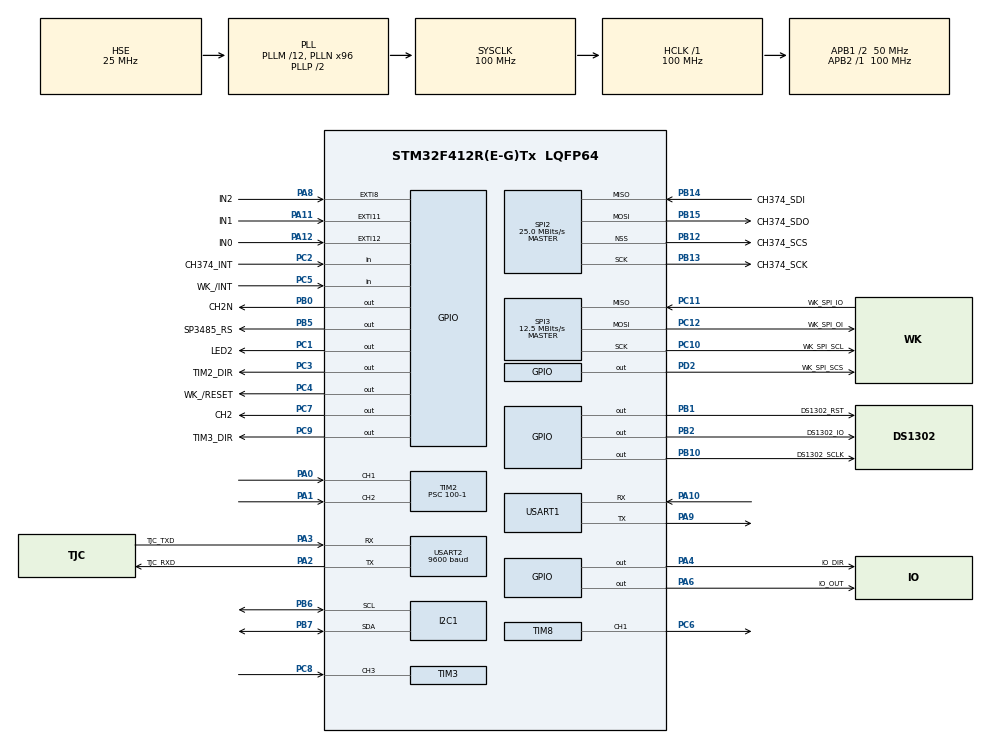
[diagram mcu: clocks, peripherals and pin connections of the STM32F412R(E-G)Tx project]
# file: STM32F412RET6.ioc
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Dma.Request0=USART2_RX
Dma.Request1=USART2_TX
Dma.Request2=USART1_RX
Dma.Request3=USART1_TX
Dma.USART1_RX.2.Direction=DMA_PERIPH_TO_MEMORY
Dma.USART1_RX.2.FIFOMode=DMA_FIFOMODE_DISABLE
Dma.USART1_RX.2.Instance=DMA2_Stream2
Dma.USART1_RX.2.MemDataAlignment=DMA_MDATAALIGN_BYTE
Dma.USART1_RX.2.MemInc=DMA_MINC_ENABLE
Dma.USART1_RX.2.Mode=DMA_NORMAL
Dma.USART1_RX.2.PeriphDataAlignment=DMA_PDATAALIGN_BYTE
Dma.USART1_RX.2.PeriphInc=DMA_PINC_DISABLE
Dma.USART1_RX.2.Priority=DMA_PRIORITY_LOW
Dma.USART1_TX.3.Direction=DMA_MEMORY_TO_PERIPH
Dma.USART1_TX.3.FIFOMode=DMA_FIFOMODE_DISABLE
Dma.USART1_TX.3.Instance=DMA2_Stream7
Dma.USART1_TX.3.MemDataAlignment=DMA_MDATAALIGN_BYTE
Dma.USART1_TX.3.MemInc=DMA_MINC_ENABLE
Dma.USART1_TX.3.Mode=DMA_NORMAL
Dma.USART1_TX.3.PeriphDataAlignment=DMA_PDATAALIGN_BYTE
Dma.USART1_TX.3.PeriphInc=DMA_PINC_DISABLE
Dma.USART1_TX.3.Priority=DMA_PRIORITY_LOW
Dma.USART2_RX.0.Direction=DMA_PERIPH_TO_MEMORY
Dma.USART2_RX.0.FIFOMode=DMA_FIFOMODE_DISABLE
Dma.USART2_RX.0.Instance=DMA1_Stream5
Dma.USART2_RX.0.MemDataAlignment=DMA_MDATAALIGN_BYTE
Dma.USART2_RX.0.MemInc=DMA_MINC_ENABLE
Dma.USART2_RX.0.Mode=DMA_NORMAL
Dma.USART2_RX.0.PeriphDataAlignment=DMA_PDATAALIGN_BYTE
Dma.USART2_RX.0.PeriphInc=DMA_PINC_DISABLE
Dma.USART2_RX.0.Priority=DMA_PRIORITY_LOW
Dma.USART2_TX.1.Direction=DMA_MEMORY_TO_PERIPH
Dma.USART2_TX.1.FIFOMode=DMA_FIFOMODE_DISABLE
Dma.USART2_TX.1.Instance=DMA1_Stream6
Dma.USART2_TX.1.MemDataAlignment=DMA_MDATAALIGN_BYTE
Dma.USART2_TX.1.MemInc=DMA_MINC_ENABLE
Dma.USART2_TX.1.Mode=DMA_NORMAL
Dma.USART2_TX.1.PeriphDataAlignment=DMA_PDATAALIGN_BYTE
Dma.USART2_TX.1.PeriphInc=DMA_PINC_DISABLE
Dma.USART2_TX.1.Priority=DMA_PRIORITY_LOW
FREERTOS.Queues01=myQueue01,5,uint8_t,0,Dynamic,NULL,NULL
FREERTOS.Tasks01=defaultTask,24,128,StartDefaultTask,Default,NULL,Dynamic,NULL,NULL;myTask01,8,128,StartTask01,Default,NULL,Dynamic,NULL,NULL
FREERTOS.configMAX_TASK_NAME_LEN=32
I2C1.I2C_Mode=I2C_Fast
Mcu.Family=STM32F4
Mcu.Name=STM32F412R(E-G)Tx
Mcu.Package=LQFP64
NVIC.DMA1_Stream5_IRQn=true\:5\:0\:false\:false\:true\:true\:false\:true\:true
NVIC.DMA1_Stream6_IRQn=true\:5\:0\:false\:false\:true\:true\:false\:true\:true
NVIC.DMA2_Stream2_IRQn=true\:5\:0\:false\:false\:true\:true\:false\:true\:true
NVIC.DMA2_Stream7_IRQn=true\:5\:0\:false\:false\:true\:true\:false\:true\:true
NVIC.EXTI15_10_IRQn=true\:5\:0\:false\:false\:true\:true\:true\:true\:true
NVIC.EXTI9_5_IRQn=true\:5\:0\:false\:false\:true\:true\:true\:true\:true
NVIC.I2C1_ER_IRQn=true\:5\:0\:false\:false\:true\:true\:true\:true\:true
NVIC.I2C1_EV_IRQn=true\:5\:0\:false\:false\:true\:true\:true\:true\:true
NVIC.PriorityGroup=NVIC_PRIORITYGROUP_4
NVIC.SPI3_IRQn=true\:5\:0\:false\:false\:true\:true\:true\:true\:true
NVIC.TIM1_UP_TIM10_IRQn=true\:15\:0\:false\:false\:true\:false\:false\:true\:true
NVIC.TIM2_IRQn=true\:5\:0\:true\:false\:true\:true\:true\:true\:true
NVIC.TIM3_IRQn=true\:6\:0\:true\:false\:true\:true\:true\:true\:true
NVIC.TIM8_BRK_TIM12_IRQn=true\:5\:0\:false\:false\:true\:true\:true\:true\:true
NVIC.TIM8_CC_IRQn=true\:5\:0\:false\:false\:true\:true\:true\:true\:true
NVIC.TIM8_TRG_COM_TIM14_IRQn=true\:5\:0\:false\:false\:true\:true\:true\:true\:true
NVIC.TIM8_UP_TIM13_IRQn=true\:5\:0\:false\:false\:true\:true\:true\:true\:true
NVIC.TimeBase=TIM1_UP_TIM10_IRQn
NVIC.TimeBaseIP=TIM1
NVIC.USART1_IRQn=true\:5\:0\:false\:false\:true\:true\:true\:true\:true
NVIC.USART2_IRQn=true\:5\:0\:false\:false\:true\:true\:true\:true\:true
PA0.GPIO_PuPd=GPIO_PULLUP
PA0.Signal=S_TIM2_CH1_ETR
PA1.GPIO_PuPd=GPIO_PULLUP
PA1.Signal=S_TIM2_CH2
PA10.Mode=Asynchronous
PA10.Signal=USART1_RX
PA11.GPIO_Label=IN1
PA11.Signal=GPXTI11
PA12.GPIO_Label=IN0
PA12.Signal=GPXTI12
PA13.GPIO_Label=TMS
PA13.Mode=JTAG_5_pins
PA13.Signal=SYS_JTMS-SWDIO
PA14.GPIO_Label=TCK
PA14.Mode=JTAG_5_pins
PA14.Signal=SYS_JTCK-SWCLK
PA15.GPIO_Label=TDI
PA15.Mode=JTAG_5_pins
PA15.Signal=SYS_JTDI
PA2.GPIO_Label=TJC_RXD
PA2.Mode=Asynchronous
PA2.Signal=USART2_TX
PA3.GPIO_Label=TJC_TXD
PA3.Mode=Asynchronous
PA3.Signal=USART2_RX
PA4.GPIO_Label=IO_DIR
PA4.Signal=GPIO_Output
PA6.GPIO_Label=IO_OUT
PA6.GPIO_ModeDefaultOutputPP=GPIO_MODE_OUTPUT_PP
PA6.GPIO_PuPd=GPIO_PULLDOWN
PA6.Signal=GPIO_Output
PA8.GPIO_Label=IN2
PA8.GPIO_ModeDefaultEXTI=GPIO_MODE_IT_RISING
PA8.Signal=GPXTI8
PA9.Mode=Asynchronous
PA9.Signal=USART1_TX
PB0.GPIO_Label=CH2N
PB0.GPIO_PuPd=GPIO_PULLUP
PB0.Signal=GPIO_Output
PB1.GPIO_Label=DS1302_RST
PB1.Signal=GPIO_Output
PB10.GPIO_Label=DS1302_SCLK
PB10.GPIO_PuPd=GPIO_PULLUP
PB10.Signal=GPIO_Output
PB12.GPIO_Label=CH374_SCS
PB12.Mode=NSS_Signal_Hard_Output
PB12.Signal=SPI2_NSS
PB13.GPIO_Label=CH374_SCK
PB13.Mode=Full_Duplex_Master
PB13.Signal=SPI2_SCK
PB14.GPIO_Label=CH374_SDI
PB14.Mode=Full_Duplex_Master
PB14.Signal=SPI2_MISO
PB15.GPIO_Label=CH374_SDO
PB15.Mode=Full_Duplex_Master
PB15.Signal=SPI2_MOSI
PB2.GPIO_Label=DS1302_IO
PB2.Signal=GPIO_Output
PB3.GPIO_Label=TDO
PB3.Mode=JTAG_5_pins
PB3.Signal=SYS_JTDO-SWO
PB4.GPIO_Label=NTRST
PB4.Mode=JTAG_5_pins
PB4.Signal=SYS_JTRST
PB5.GPIO_Label=SP3485_RS
PB5.Signal=GPIO_Output
PB6.Mode=I2C
PB6.Signal=I2C1_SCL
PB7.Mode=I2C
PB7.Signal=I2C1_SDA
PC1.GPIO_Label=LED2
PC1.GPIO_PuPd=GPIO_PULLUP
PC1.Signal=GPIO_Output
PC10.GPIO_Label=WK_SPI_SCL
PC10.Mode=Full_Duplex_Master
PC10.Signal=SPI3_SCK
PC11.GPIO_Label=WK_SPI_IO
PC11.Mode=Full_Duplex_Master
PC11.Signal=SPI3_MISO
PC12.GPIO_Label=WK_SPI_OI
PC12.Mode=Full_Duplex_Master
PC12.Signal=SPI3_MOSI
PC2.GPIO_Label=CH374_INT
PC2.Signal=GPIO_Input
PC3.GPIO_Label=TIM2_DIR
PC3.Signal=GPIO_Output
PC4.GPIO_Label=WK_/RESET
PC4.Signal=GPIO_Output
PC5.GPIO_Label=WK_/INT
PC5.Signal=GPIO_Input
PC6.GPIO_Speed=GPIO_SPEED_FREQ_HIGH
PC6.Signal=S_TIM8_CH1
PC7.GPIO_Label=CH2
PC7.GPIO_PuPd=GPIO_PULLDOWN
PC7.Signal=GPIO_Output
PC8.Signal=S_TIM3_CH3
PC9.GPIO_Label=TIM3_DIR
PC9.Signal=GPIO_Output
PD2.GPIO_Label=WK_SPI_SCS
PD2.GPIO_PuPd=GPIO_PULLUP
PD2.Signal=GPIO_Output
PH0\ -\ OSC_IN.Mode=HSE-External-Oscillator
PH0\ -\ OSC_IN.Signal=RCC_OSC_IN
PH1\ -\ OSC_OUT.Mode=HSE-External-Oscillator
PH1\ -\ OSC_OUT.Signal=RCC_OSC_OUT
ProjectManager.HeapSize=0x200
ProjectManager.StackSize=0x400
ProjectManager.TargetToolchain=MDK-ARM V5.32
RCC.AHBFreq_Value=100000000
RCC.APB1CLKDivider=RCC_HCLK_DIV2
RCC.APB1Freq_Value=50000000
RCC.APB1TimFreq_Value=100000000
RCC.APB2Freq_Value=100000000
RCC.APB2TimFreq_Value=100000000
RCC.CortexFreq_Value=100000000
RCC.HCLKFreq_Value=100000000
RCC.PLLM=12
RCC.PLLN=96
RCC.PLLSourceVirtual=RCC_PLLSOURCE_HSE
RCC.SYSCLKFreq_VALUE=100000000
RCC.SYSCLKSource=RCC_SYSCLKSOURCE_PLLCLK
RCC.USBFreq_Value=100000000
RCC.VCOOutputFreq_Value=200000000
SH.S_TIM2_CH1_ETR.0=TIM2_CH1,Encoder_Interface
SH.S_TIM2_CH2.0=TIM2_CH2,Encoder_Interface
SH.S_TIM3_CH3.0=TIM3_CH3,Input_Capture3_from_TI3
SH.S_TIM8_CH1.0=TIM8_CH1,PWM Generation1 CH1
SPI2.CalculateBaudRate=25.0 MBits/s
SPI2.Direction=SPI_DIRECTION_2LINES
SPI2.Mode=SPI_MODE_MASTER
SPI2.VirtualNSS=VM_NSSHARD
SPI2.VirtualType=VM_MASTER
SPI3.BaudRatePrescaler=SPI_BAUDRATEPRESCALER_4
SPI3.CLKPhase=SPI_PHASE_2EDGE
SPI3.CLKPolarity=SPI_POLARITY_HIGH
SPI3.CalculateBaudRate=12.5 MBits/s
SPI3.Direction=SPI_DIRECTION_2LINES
SPI3.Mode=SPI_MODE_MASTER
SPI3.VirtualType=VM_MASTER
TIM13.Period=10-1
TIM13.Prescaler=10-1
TIM2.EncoderMode=TIM_ENCODERMODE_TI12
TIM2.IC1Filter=6
TIM2.IC2Filter=6
TIM2.Period=20000-1
TIM2.Prescaler=100-1
TIM3.AutoReloadPreload=TIM_AUTORELOAD_PRELOAD_ENABLE
TIM3.Channel-Input_Capture3_from_TI3=TIM_CHANNEL_3
TIM3.Period=20000-1
TIM3.Prescaler=1000-1
TIM8.AutoReloadPreload=TIM_AUTORELOAD_PRELOAD_DISABLE
TIM8.Channel-PWM\ Generation1\ CH1=TIM_CHANNEL_1
TIM8.Period=50-1
TIM8.Prescaler=100-1
TIM8.Pulse-PWM\ Generation1\ CH1=25
USART1.VirtualMode=VM_ASYNC
USART2.BaudRate=9600
USART2.VirtualMode=VM_ASYNC
VP_FREERTOS_VS_CMSIS_V2.Mode=CMSIS_V2
VP_SYS_VS_tim1.Mode=TIM1
VP_TIM13_VS_ClockSourceINT.Mode=Enable_Timer
VP_TIM3_VS_ClockSourceINT.Mode=Internal
board=custom

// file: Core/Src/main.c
/* USER CODE BEGIN Header */
/**
  ******************************************************************************
  * @file           : main.c
  * @brief          : Main program body
  ******************************************************************************
  * @attention
  *
  * Copyright (c) 2024 STMicroelectronics.
  * All rights reserved.
  *
  * This software is licensed under terms that can be found in the LICENSE file
  * in the root directory of this software component.
  * If no LICENSE file comes with this software, it is provided AS-IS.
  *
  ******************************************************************************
  */
/* USER CODE END Header */
#include "main.h"
#include "cmsis_os.h"
#include "dma.h"
#include "i2c.h"
#include "spi.h"
#include "tim.h"
#include "usart.h"
#include "gpio.h"

/* USER CODE BEGIN Includes */
float speed_Record[SPEED_RECORD_NUM]={0};
/* USER CODE END Includes */

/* USER CODE BEGIN PTD */
float Speed_Low_Filter(float new_Spe,float *speed_Record);
/* USER CODE END PTD */

void SystemClock_Config(void);
void MX_FREERTOS_Init(void);

int main(void)
{

  /* MCU Configuration--------------------------------------------------------*/

  /* Reset of all peripherals, Initializes the Flash interface and the Systick. */
  HAL_Init();

  /* Configure the system clock */
  SystemClock_Config();

  /* Initialize all configured peripherals */
  MX_GPIO_Init();
  MX_DMA_Init();
  MX_TIM2_Init();
  MX_USART2_UART_Init();
  MX_USART1_UART_Init();
  MX_I2C1_Init();
  MX_SPI2_Init();
  MX_SPI3_Init();
  MX_TIM3_Init();
  MX_TIM8_Init();
  MX_TIM13_Init();

  /* Init scheduler */
  osKernelInitialize();  /* Call init function for freertos objects (in freertos.c) */
  MX_FREERTOS_Init();

  /* Start scheduler */
  osKernelStart();

  /* We should never get here as control is now taken by the scheduler */
  /* Infinite loop */
  while (1)
  {

  }
}

void SystemClock_Config(void)
{
  RCC_OscInitTypeDef RCC_OscInitStruct = {0};
  RCC_ClkInitTypeDef RCC_ClkInitStruct = {0};

  /** Configure the main internal regulator output voltage
  */
  __HAL_RCC_PWR_CLK_ENABLE();
  __HAL_PWR_VOLTAGESCALING_CONFIG(PWR_REGULATOR_VOLTAGE_SCALE1);

  /** Initializes the RCC Oscillators according to the specified parameters
  * in the RCC_OscInitTypeDef structure.
  */
  RCC_OscInitStruct.OscillatorType = RCC_OSCILLATORTYPE_HSE;
  RCC_OscInitStruct.HSEState = RCC_HSE_ON;
  RCC_OscInitStruct.PLL.PLLState = RCC_PLL_ON;
  RCC_OscInitStruct.PLL.PLLSource = RCC_PLLSOURCE_HSE;
  RCC_OscInitStruct.PLL.PLLM = 12;
  RCC_OscInitStruct.PLL.PLLN = 96;
  RCC_OscInitStruct.PLL.PLLP = RCC_PLLP_DIV2;
  RCC_OscInitStruct.PLL.PLLQ = 2;
  RCC_OscInitStruct.PLL.PLLR = 2;
  if (HAL_RCC_OscConfig(&RCC_OscInitStruct) != HAL_OK)
  {
    Error_Handler();
  }

  /** Initializes the CPU, AHB and APB buses clocks
  */
  RCC_ClkInitStruct.ClockType = RCC_CLOCKTYPE_HCLK|RCC_CLOCKTYPE_SYSCLK
                              |RCC_CLOCKTYPE_PCLK1|RCC_CLOCKTYPE_PCLK2;
  RCC_ClkInitStruct.SYSCLKSource = RCC_SYSCLKSOURCE_PLLCLK;
  RCC_ClkInitStruct.AHBCLKDivider = RCC_SYSCLK_DIV1;
  RCC_ClkInitStruct.APB1CLKDivider = RCC_HCLK_DIV2;
  RCC_ClkInitStruct.APB2CLKDivider = RCC_HCLK_DIV1;

  if (HAL_RCC_ClockConfig(&RCC_ClkInitStruct, FLASH_LATENCY_3) != HAL_OK)
  {
    Error_Handler();
  }
}

/* USER CODE BEGIN 4 */

void HAL_GPIO_EXTI_Callback(uint16_t GPIO_Pin)//GPIO中断回调函数
{
	if(GPIO_Pin==IN0_Pin)
	{
		__HAL_GPIO_EXTI_CLEAR_IT(IN0_Pin);//清除中断标志位
		HAL_GPIO_TogglePin(GPIOB,GPIO_PIN_0);//控制电机驱动控制电机正反转
	}

	else if(GPIO_Pin==IN1_Pin)//原点
	{
		if(Position_flag==0)//复位后
		{
			Position_flag=1;
		}
		else if(Position_flag==1)//自检
		{
			Position_flag=2;
		}
		Encoder_Processing_flag=1;
		__HAL_TIM_SET_COUNTER(&htim2, 10000);//校验位置
		__HAL_GPIO_EXTI_CLEAR_IT(IN1_Pin);//清除中断标志位
	}

	else if(GPIO_Pin==IN2_Pin)
	{
		__HAL_GPIO_EXTI_CLEAR_IT(IN2_Pin);//清除中断标志位
		HAL_GPIO_TogglePin(GPIOB,GPIO_PIN_0);//控制电机驱动控制电机正反转
	}
}

/*
 * 进行速度的平均滤波
 * 输入新采样到的速度，存放速度的数组，
 * 返回滤波后的速度
 */
float Speed_Low_Filter(float new_Spe,float *speed_Record)
{
    float sum = 0.0f;
    float test_Speed;
    for(uint8_t i=SPEED_RECORD_NUM-1;i>0;i--)//将现有数据后移一位
    {
        speed_Record[i] = speed_Record[i-1];
        sum += speed_Record[i-1];
    }
    speed_Record[0] = new_Spe;//第一位是新的数据
    sum += new_Spe;
    test_Speed = sum/SPEED_RECORD_NUM;
    return test_Speed;//返回均值
}

/* USER CODE END 4 */

void HAL_TIM_PeriodElapsedCallback(TIM_HandleTypeDef *htim)
{
  if (htim->Instance == TIM1) {
    HAL_IncTick();
  }
  /* USER CODE BEGIN Callback 1 */
	else if(htim->Instance==TIM3)//间隔定时器中断，是时候计算速度了（100ms处理一次）
	{
		Encoder_Processing_flag=1;
	}

	else if(htim->Instance==TIM2)//编码器溢出更新中断
	{
		if(COUNTERNUM < 10000)	motor1.overflowNum++;         //向上计数超过10000，正溢出+1
		else if(COUNTERNUM > 10000)	motor1.overflowNum--;     //向下计数小于0，负溢出+1
		__HAL_TIM_SetCounter(&htim2, 10000);             //重新设定初始值
	}

	else if(htim->Instance==TIM8)//PWM输出
	{
		if(Position_flag==1)//自检位置持续移动
		{
			HAL_TIM_PWM_Stop_IT(&htim8,TIM_CHANNEL_1);//关闭PWM输出
		}
	}
	else if(htim->Instance==TIM13)//硬触发定时1us一次
	{
		HAL_GPIO_WritePin(IO_OUT_GPIO_Port, IO_OUT_Pin, GPIO_PIN_RESET);//硬触发关闭
		HAL_TIM_Base_Stop_IT(&htim13);
	}
  /* USER CODE END Callback 1 */
}

void Error_Handler(void)
{
  __disable_irq();
  while (1)
  {
  }
}

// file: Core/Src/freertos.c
/* USER CODE BEGIN Header */
/**
  ******************************************************************************
  * File Name          : freertos.c
  * Description        : Code for freertos applications
  ******************************************************************************
  * @attention
  *
  * Copyright (c) 2024 STMicroelectronics.
  * All rights reserved.
  *
  * This software is licensed under terms that can be found in the LICENSE file
  * in the root directory of this software component.
  * If no LICENSE file comes with this software, it is provided AS-IS.
  *
  ******************************************************************************
  */
/* USER CODE END Header */

#include "FreeRTOS.h"
#include "task.h"
#include "main.h"
#include "cmsis_os.h"

/* USER CODE BEGIN PTD */
wiz_NetInfo gWIZNETINFO = {
  .mac = { 0x80, 0x80, 0x80,0x80,0x80,0x80 },//MSB - LSB
  .ip  = { 192, 168, 1, 10 },
  .sn  = { 255, 255, 255, 0 },
  .gw  = { 192, 168, 1, 1 },//网关参数
  .dns  = { 8, 8, 8, 8 },
  .dhcp = NETINFO_STATIC };

uint8_t receive_buff[RECEIVE_BUFF_SIZE];

Motor motor1;
float Position;//距0点位置,单位mm
uint16_t pwmVal_TIM8 = 0;  //占空比大小(CCRx的大小，高电平时间)
uint8_t Position_flag=0;//位置标志位
uint8_t Encoder_Processing_flag=0;//编码器数据处理标志位
float  Track_Length;//轨道长，单位毫米
uint8_t Sports_mode=0;//运动模式
/* USER CODE END PTD */

/* Definitions for defaultTask */
osThreadId_t defaultTaskHandle;
const osThreadAttr_t defaultTask_attributes = {
  .name = "defaultTask",
  .stack_size = 128 * 4,
  .priority = (osPriority_t) osPriorityNormal,
};
/* Definitions for myTask01 */
osThreadId_t myTask01Handle;
const osThreadAttr_t myTask01_attributes = {
  .name = "myTask01",
  .stack_size = 128 * 4,
  .priority = (osPriority_t) osPriorityLow,
};
/* Definitions for myQueue01 */
osMessageQueueId_t myQueue01Handle;
const osMessageQueueAttr_t myQueue01_attributes = {
  .name = "myQueue01"
};

/* USER CODE BEGIN FunctionPrototypes */
osThreadId_t Ethernet_ServerTaskHandle;
const osThreadAttr_t Ethernet_ServerTask_attributes = {
  .name = "Ethernet_ServerTask",
  .stack_size = 256 * 4,
  .priority = (osPriority_t) osPriorityLow,
};

osThreadId_t EncoderTaskHandle;
const osThreadAttr_t EncoderTask_attributes = {
  .name = "EncoderTask",
  .stack_size = 128 * 4,
  .priority = (osPriority_t) osPriorityLow,
};

osThreadId_t DriveTaskHandle;
const osThreadAttr_t DriveTask_attributes = {
  .name = "DriveTask",
  .stack_size = 128 * 4,
  .priority = (osPriority_t) osPriorityLow,
};

osThreadId_t Pulse_EmissionTaskHandle;
const osThreadAttr_t Pulse_EmissionTask_attributes = {
  .name = "Pulse_EmissionTask",
  .stack_size = 128 * 4,
  .priority = (osPriority_t) osPriorityLow,
};

osThreadId_t ScreenTaskHandle;
const osThreadAttr_t ScreenTask_attributes = {
  .name = "ScreenTask",
  .stack_size = 128 * 4,
  .priority = (osPriority_t) osPriorityLow,
};

osMessageQueueId_t Ethernet_ReceiveHandle;
const osMessageQueueAttr_t Ethernet_Receive_attributes = {
  .name = "Ethernet_Receive"
};

osMessageQueueId_t Ethernet_SendHandle;
const osMessageQueueAttr_t Ethernet_Send_attributes = {
  .name = "Ethernet_Send"
};

void Ethernet_Server(void *argument);//网络通信-服务端
void Encoder(void *argument);//电动机编码器通讯
void Drive(void *argument);//控制驱动器
void Pulse_Emission(void *argument);//脉冲发射
void Screen(void *argument);//屏幕通信
/* USER CODE END FunctionPrototypes */

void StartDefaultTask(void *argument);
void StartTask01(void *argument);

void MX_FREERTOS_Init(void); /* (MISRA C 2004 rule 8.1) */

void MX_FREERTOS_Init(void) {
  /* USER CODE BEGIN Init */
	printf("A simple Ping Application using W5500!\r\n");
  W5500Init();//w5500初始化
  /* USER CODE END Init */

  /* Create the queue(s) */
  /* creation of myQueue01 */
  myQueue01Handle = osMessageQueueNew (5, sizeof(uint8_t), &myQueue01_attributes);

  /* Create the thread(s) */
  /* creation of defaultTask */
  defaultTaskHandle = osThreadNew(StartDefaultTask, NULL, &defaultTask_attributes);

  /* creation of myTask01 */
  myTask01Handle = osThreadNew(StartTask01, NULL, &myTask01_attributes);

  /* USER CODE BEGIN RTOS_THREADS */
	Ethernet_ServerTaskHandle = osThreadNew(Ethernet_Server, NULL, &Ethernet_ServerTask_attributes);
	EncoderTaskHandle = osThreadNew(Encoder, NULL, &EncoderTask_attributes);
	DriveTaskHandle = osThreadNew(Drive, NULL, &DriveTask_attributes);
	Pulse_EmissionTaskHandle = osThreadNew(Pulse_Emission, NULL, &Pulse_EmissionTask_attributes);
	ScreenTaskHandle = osThreadNew(Screen, NULL, &ScreenTask_attributes);

	Ethernet_ReceiveHandle = osMessageQueueNew (5, 12*sizeof(uint8_t), &Ethernet_Receive_attributes);
	Ethernet_SendHandle = osMessageQueueNew (5, 20*sizeof(uint8_t), &Ethernet_Send_attributes);

  /* add threads, ... */
  /* USER CODE END RTOS_THREADS */

}

void StartDefaultTask(void *argument)
{
  for(;;)
  {
    osDelay(1);
  }
}

void StartTask01(void *argument)
{
  for(;;)
  {
    osDelay(1);
  }
}

/* USER CODE BEGIN Application */

void Ethernet_Server(void *argument)//网口通信-服务端
{
  ctlnetwork(CN_SET_NETINFO, (void*)&gWIZNETINFO);  //配置网络参数
  wiz_PhyConf phyconf;
  phyconf.by = PHY_CONFBY_SW;
  phyconf.duplex = PHY_DUPLEX_FULL;
  phyconf.speed = PHY_SPEED_10;
  phyconf.mode = PHY_MODE_AUTONEGO;
  ctlwizchip(CW_SET_PHYCONF, (void*)&phyconf); //配置PHY参数
  PHYStatusCheck();//检查网络连接参数
  PrintPHYConf();//打印PHY配置信息
  printf("Simple Ping Application\r\n");
  for(;;)
  {
		osDelay(1);
    printf("\r\nInitializing server socket\r\n");
	  //Parameters in order socket_id, protocol TCP or UDP, Port number, Flags=0
	  //Return value is socket ID on success
	  if(socket(1,Sn_MR_TCP,LISTEN_PORT,0)!=1)//创建一个socket：Socket号，TCP/UDP类型，端口号
	  {
		  //error
		  printf("Cannot create Socket!\r\n");
		  while(1);//halt here
	  }
	  //success
	  printf("Socket Created Successfully ! \r\n");
	  uint8_t socket_io_mode=SOCK_IO_BLOCK;
	  ctlsocket(1, CS_SET_IOMODE , &socket_io_mode);//set blocking IO mode
    printf("IP Address is %d.%d.%d.%d\r\n",gWIZNETINFO.ip[0],gWIZNETINFO.ip[1],gWIZNETINFO.ip[2],gWIZNETINFO.ip[3]);
	  printf("Start listening on port %d ! \r\n",LISTEN_PORT);
	  printf("Waiting for a client connection. \r\n");
	  //Make it a passive socket (i.e. listen for connection)
	  if(listen(1)!=SOCK_OK)//监听端口
	  {//our socket id is 1 (w5500 have 8 sockets from 0-7)
		  //error
		  printf("Cannot listen on port %d",LISTEN_PORT);
		  while(1);
	  }
	  uint8_t sr=0x00;//socket status register
	  do
	  {
		  sr=getSn_SR(1);//获取Sn_SR寄存器，参数0~7
	  }while (sr!=SOCK_ESTABLISHED && sr!=SOCK_CLOSED);

	  if(sr==SOCK_CLOSED)
	  {
		  printf("Some error occurred on server socket. Please restart.\r\n");
		  while(1);
	  }
	  if(sr==SOCK_ESTABLISHED)//成功连接
	  {
		  //we come here only when a client has connected.
		  //Now we can read data from the socket
		  printf("A client connected!\r\n");
		  printf("Waiting for Client Data ...!\r\n");
		  while(1)
		  {
			  int len=recv(1, receive_buff, RECEIVE_BUFF_SIZE);//从连接设备读取数据到receive_buff
			  if(len==SOCKERR_SOCKSTATUS)	// 读取W5500空闲接收缓存寄存器的值并赋给len
			  {
				  //client has disconnected
				  printf("Client has disconnected\r\n");
				  printf("*** SESSION OVER ***\r\n\r\n");
				  break;
			  }
				//Look for quit message and quit if received
			  if(strcmp((char*)receive_buff,"QUIT")==0)
			  {//收到"QUIT"，端口客户端连接
				  printf("Received QUIT command from client\r\n");
				  printf("Disconnecting ... \r\n");
				  printf("*** SESSION OVER ***\r\n\r\n");
				  disconnect(1);//disconnect from the clinet 断开客户端连接
				  break;//come out of while loop 退出，回到131行，重新等待客户端连接
			  }
				osMessageQueuePut(Ethernet_ReceiveHandle,receive_buff,1,0);
				memset(receive_buff,0,RECEIVE_BUFF_SIZE);
		  }//While loop (as long as client is connected)
//			send(1,(uint8_t*)Position,2);// the data          向客户端发送接收到的内容或者特定的回答
	  }//if block, client connect success
  }
}

void Encoder(void *argument)//电动机编码器通讯
{
//	if(Position_flag==1)//复位到原点后开始采集编码器
//	{
		HAL_GPIO_WritePin(TIM2_DIR_GPIO_Port, TIM2_DIR_Pin, GPIO_PIN_RESET);//PC3-配置DIR引脚低电平，电平转换器B->A
		HAL_TIM_Encoder_Start(&htim2, TIM_CHANNEL_ALL);      //开启编码器定时器
		__HAL_TIM_ENABLE_IT(&htim2,TIM_IT_UPDATE);          //开启编码器定时器更新中断,防溢出处理
		HAL_TIM_Base_Start_IT(&htim3);                    //开启100ms定时器中断
		__HAL_TIM_SET_COUNTER(&htim2, 10000);               //编码器定时器初始值设定为10000
		motor1.lastCount = 0;                               //结构体内容初始化
		motor1.totalCount = 0;
		motor1.overflowNum = 0;
		motor1.speed = 0;
		motor1.direct = 0;
		motor1.distance = 0;
		Position=0.0f;
//	}
  for(;;)
  {
		osDelay(1);
		if(Encoder_Processing_flag==1)
		{
			Encoder_Processing_flag=0;
			motor1.direct = __HAL_TIM_IS_TIM_COUNTING_DOWN(&htim2);//如果向上计数（正转），返回值为0，否则返回值为1
			int16_t pluse = COUNTERNUM - RELOADVALUE/2;
			motor1.totalCount = pluse+ motor1.overflowNum * RELOADVALUE/2;//从开始到现在当前100ms的总脉冲数
			motor1.speed = (float)(motor1.totalCount - motor1.lastCount) / (4 * MOTOR_SPEED_RERATIO * PULSE_PRE_ROUND);//算得100ms转了多少圈,除以4是因为4倍频
//			motor1.speed = Speed_Low_Filter(motor1.speed,speed_Record);//滤波函数
			motor1.lastCount = motor1.totalCount; //记录这一次的计数值
			motor1.distance = One_Circle_Distance * motor1.speed;//计算移动距离
//			if(Position_flag==1)
//			{
				if(HAL_GPIO_ReadPin(CH2N_GPIO_Port, CH2N_Pin))//向前移动
				{
					Position = Position + motor1.distance;	//距零点距离
				}
				else//向后移动
				{
					Position = Position - motor1.distance;	//距零点距离
				}
//			}
//			else if(Position_flag==2)
//			{
//				Position=0.0f;;
//				motor1.lastCount=0;
//				Position_flag=1;
//			}
		}
  }

}

uint16_t a=100;
void Drive(void *argument)//控制驱动器
{
	uint8_t status=0;
	uint8_t Drive_control_array[12];	//驱动器控制数组
	HAL_GPIO_WritePin(CH2_GPIO_Port,CH2_Pin,GPIO_PIN_SET);//PC7-电机使能正输入(GPIO_PIN_RESET:开始，GPIO_PIN_SET:停止）
	osDelay(10);
	HAL_GPIO_WritePin(CH2N_GPIO_Port,CH2N_Pin,GPIO_PIN_SET);//PB0-电机方向控制(GPIO_PIN_RESET:顺时针，GPIO_PIN_SET:逆时针）
	osDelay(10);
	HAL_TIM_Base_Start_IT(&htim8);//开启TIM8定时器中断（20KHZ，周期50us）

	__HAL_TIM_SET_AUTORELOAD(&htim8,20);//修改自动重装载值
	HAL_TIM_PWM_Start_IT(&htim8,TIM_CHANNEL_1);//启动TIM8_CH1的PWM波输出（中断）
  for(;;)
  {
		osDelay(1);
//		if(a<3000)
//		{
//			a++;
//			__HAL_TIM_SET_AUTORELOAD(&htim8,a);//修改自动重装载值
//			__HAL_TIM_PRESCALER(&htim8,a);//修改预分频值
//			TIM8->CCR1 = a;//修改占空比
//			__HAL_TIM_SET_COMPARE(&htim8, TIM_CHANNEL_1, a);//修改占空比
//			HAL_TIM_PWM_Start_IT(&htim8,TIM_CHANNEL_1);//启动TIM8_CH1的PWM波输出（中断）
//			osDelay(2000);
//		}
		status=osMessageQueueGet(Ethernet_ReceiveHandle,Drive_control_array,NULL,10);
		if(status==osOK)
		{
			if(Drive_control_array[0]==0x19&&Drive_control_array[1]==0xB2&&Drive_control_array[5]==0x06&&Drive_control_array[6]==0xDB)//校验
			{
			  switch(Drive_control_array[7])
				{
					case 0x01:
						if(Drive_control_array[8]==0x20&&Drive_control_array[9]==0x0A)
						{

						}
						else if(Drive_control_array[8]==0x20&&Drive_control_array[9]==0x64)
						{

						}
						break;

					case 0x02:
						switch(Drive_control_array[9])
						{
							case 0x01:

								break;

							case 0x03:

								break;

							case 0x04:

								break;

							case 0x05:

								break;

							default:
								break;
						}
						break;

					case 0x03:
						if(Drive_control_array[9]==0x20)
						{

						}
						else if(Drive_control_array[9]==0x96)
						{

						}
						else if(Drive_control_array[9]==0x88)
						{

						}
						break;

					case 0x05:
						switch(Drive_control_array[9])
						{
							case 0x00:

								break;

							case 0x01:

								break;

							case 0x02:

								break;

							case 0x03:

								break;

							case 0x04:

								break;

							case 0x05:

								break;

							case 0x06:

								break;

							case 0x07:

								break;

							case 0x09:

								break;

							case 0x14:

								break;

							default:
								break;
						}
						break;

					case 0x06:
						if(Drive_control_array[8]==0x00)
						{
							if(Drive_control_array[9]==0x64)
							{

							}
							else if(Drive_control_array[9]==0x68)
							{

							}
							else if(Drive_control_array[9]==0x78)
							{

							}

						}
						else if(Drive_control_array[8]==0x01)
						{
							if(Drive_control_array[9]==0x4A)
							{

							}
							else if(Drive_control_array[9]==0x4E)
							{

							}
						}

						break;

					default:
						break;
				}
			printf("%d-%d\r\n",Drive_control_array[8],Drive_control_array[9]);
			}
			memset(Drive_control_array,0,12);
		}
  }
}

void Pulse_Emission(void *argument)//脉冲触发（TIM13通道）
{
	HAL_GPIO_WritePin(IO_DIR_GPIO_Port, IO_DIR_Pin, GPIO_PIN_SET);//PA4-配置DIR引脚高电平，电平转换器A->B
  for(;;)
  {
		osDelay(1);
//		if()//硬触发条件
//		{
//			HAL_GPIO_WritePin(IO_OUT_GPIO_Port, IO_OUT_Pin, GPIO_PIN_SET);//PA6-硬触发
//			HAL_TIM_Base_Start_IT(&htim13);//开启TIM13定时器中断（10MHZ，计数10次，1us）
//		}
		osDelay(100);
		HAL_GPIO_TogglePin(GPIOC, LED2_Pin);
  }
}

void Screen(void *argument)//屏幕通信
{
//	initRingBuff();																//初始化环形缓存区
//	HAL_UART_Receive_IT(&huart2,RxBuff,1);				//打开串口接收中断
	TJCPrintf("0x00");         							  		//为确保串口HMI正常通信
  for(;;)
  {
    osDelay(1);
//		while(usize >= FRAMELENGTH)//串口缓存区数量大于6
//	  {
//		  //校验帧头帧尾是否匹配
//		  if(u(0) != 0x55 || u(6) != 0xff || u(7) != 0xff || u(8) != 0xff)
//		  {
//			  //不匹配删除1字节
//			  udelete(1);
//		  }else
//		  {
//			  //匹配，跳出循环
//			  break;
//		  }
//	  }
//	  //进行解析
//	  if(usize >= FRAMELENGTH && u(0) == 0x55 && u(6) == 0xff && u(7) == 0xff && u(8) == 0xff)
//	  {
//		  udelete(FRAMELENGTH);//删除串口缓冲区中相应长度的数据
//	  }
//		TJCPrintf("set.t3.txt=\"%d\"",Position);	//显示位移距离
//		TJCPrintf("set.j0.val=%d",Position/Track_Length);	//显示进度条距离
//		TJCPrintf("set.t1.txt=\"%d\"",motor1.direct);	//显示运动方向
//		TJCPrintf("set.t4.txt=\"%d\"",motor1.speed*10);	//显示速度
//		TJCPrintf("set.t4.txt=\"%d\"",Sports_mode);	//显示运动模式

  }
}
/* USER CODE END Application */
